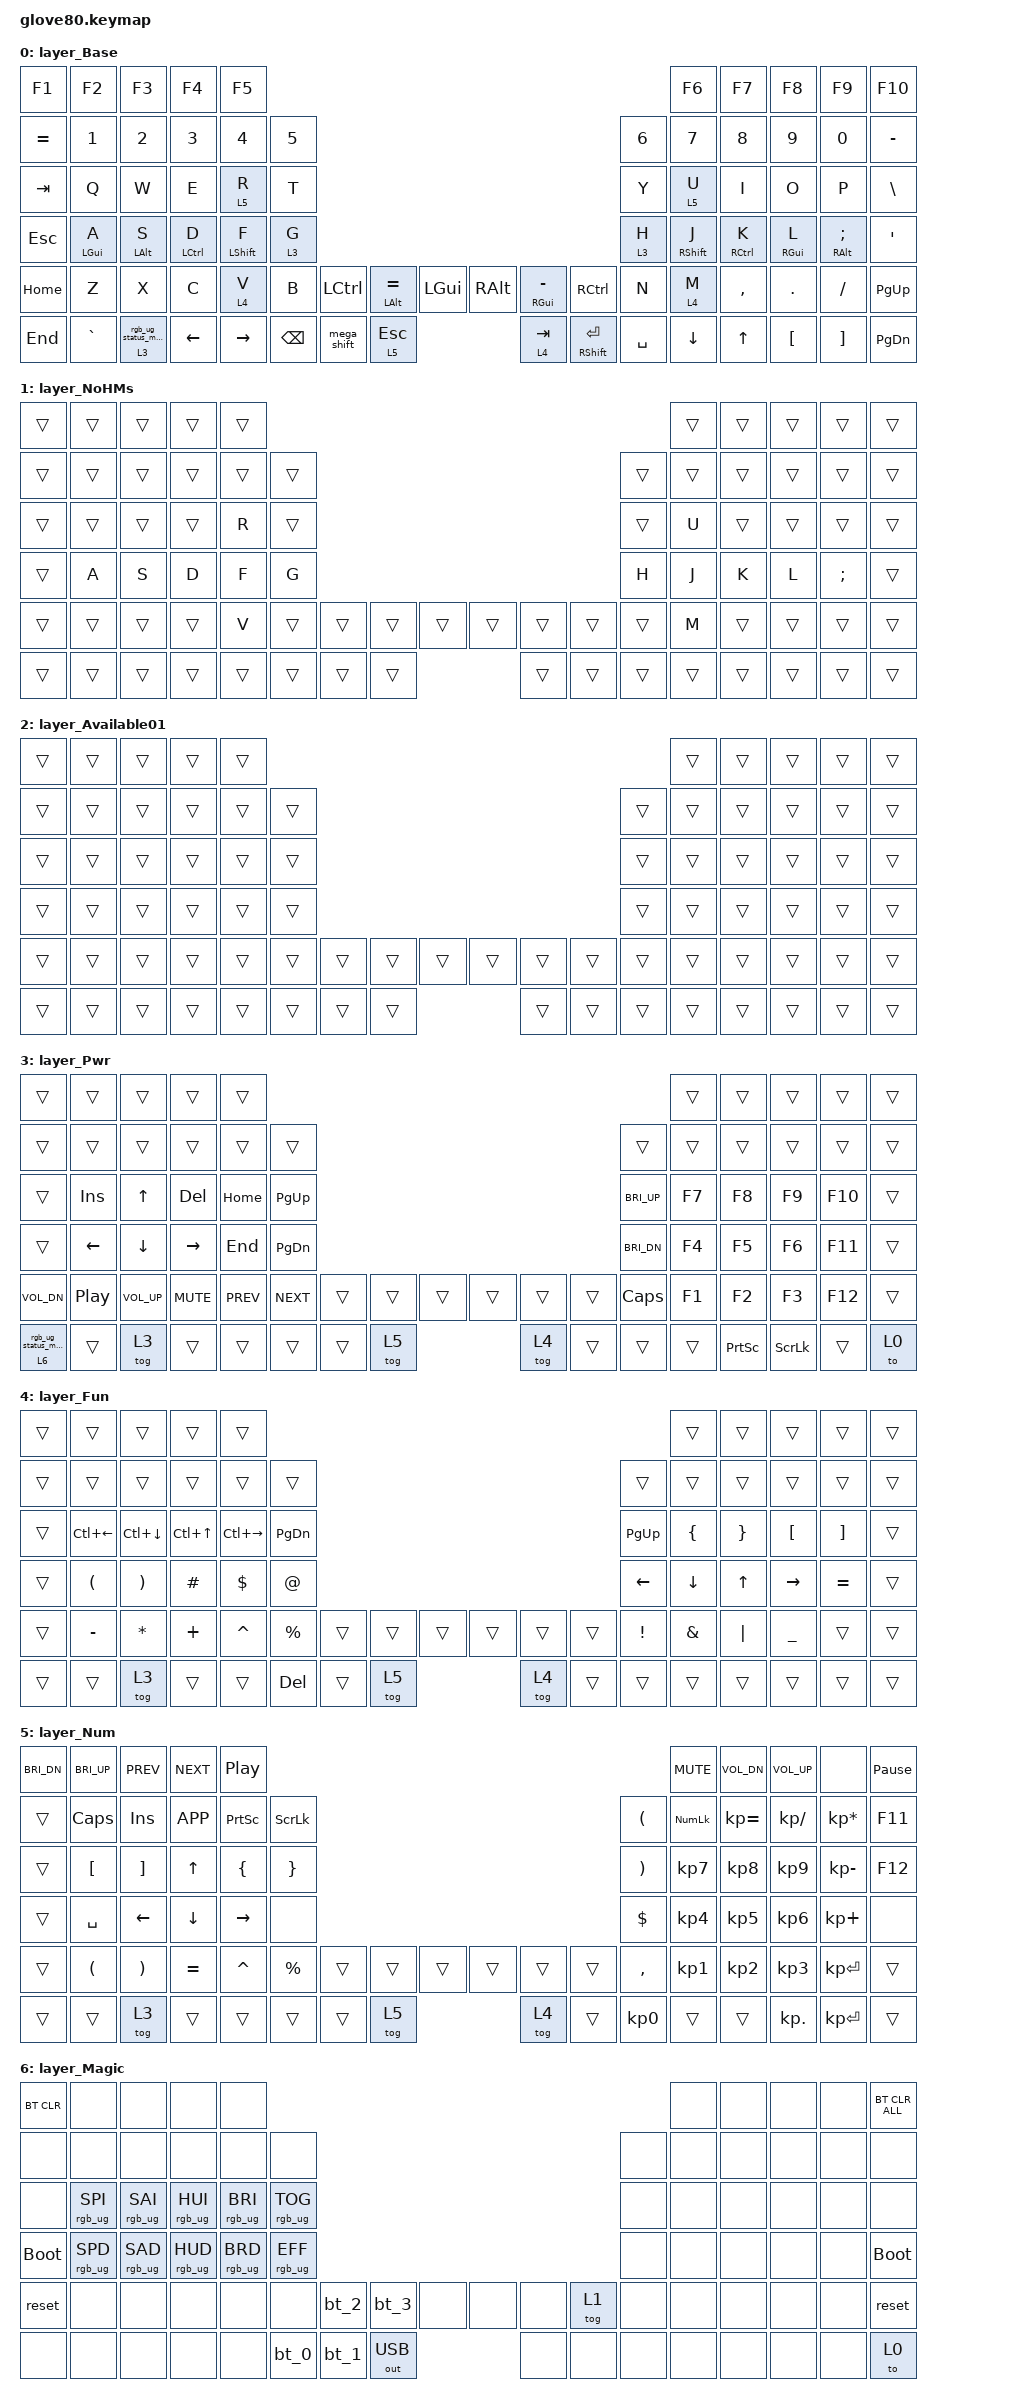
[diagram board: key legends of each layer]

/*
 * Copyright (c) 2020 The ZMK Contributors
 * Copyright (c) 2022 Innaworks Development Limited, trading as MoErgo
 *
 * SPDX-License-Identifier: MIT
 */


/* THIS FILE WAS GENERATED BY GLOVE80 LAYOUT EDITOR
 *
 * This file was generated automatically. You may or may not want to
 * edit it directly.
 */

#include <behaviors.dtsi>
/* Include all behaviour includes needed by system behaviors/macros */
#include <dt-bindings/zmk/outputs.h>

/* Include behaviour includes needed by key binds - automatically generated */
#include <dt-bindings/zmk/keys.h>
#include <dt-bindings/zmk/bt.h>
#include <dt-bindings/zmk/rgb.h>
#include <dt-bindings/zmk/outputs.h>


/ {
    /* Glove80 system behavior & macros */
    behaviors {
        // For the "layer" key, it'd nice to be able to use it as either a shift or a toggle.
        // Configure it as a tap dance, so the first tap (or hold) is a &mo and the second tap is a &to
        lower: tap_dance_0 {
            compatible = "zmk,behavior-tap-dance";
            label = "LAYER_TAP_DANCE";
            #binding-cells = <0>;
            tapping-term-ms = <200>;
            bindings = <&mo 1>, <&to 1>;
        };
    };

    macros {
        rgb_ug_status_macro: rgb_ug_status_macro_0 {
            label = "RGB_UG_STATUS";
            compatible = "zmk,behavior-macro";
            #binding-cells = <0>;
            bindings
                = <&rgb_ug RGB_STATUS>;
        };
    };

    macros {
        bt_0: bt_profile_macro_0 {
            label = "BT_0";
            compatible = "zmk,behavior-macro";
            #binding-cells = <0>;
            bindings
                = <&out OUT_BLE>,
                  <&bt BT_SEL 0>;
        };
    };

    macros {
        bt_1: bt_profile_macro_1 {
            label = "BT_1";
            compatible = "zmk,behavior-macro";
            #binding-cells = <0>;
            bindings
                = <&out OUT_BLE>,
                  <&bt BT_SEL 1>;
        };
    };

    macros {
        bt_2: bt_profile_macro_2 {
            label = "BT_2";
            compatible = "zmk,behavior-macro";
            #binding-cells = <0>;
            bindings
                = <&out OUT_BLE>,
                  <&bt BT_SEL 2>;
        };
    };

    macros {
        bt_3: bt_profile_macro_3 {
            label = "BT_3";
            compatible = "zmk,behavior-macro";
            #binding-cells = <0>;
            bindings
                = <&out OUT_BLE>,
                  <&bt BT_SEL 3>;
        };
    };

    magic: magic_hold_tap {
        compatible = "zmk,behavior-hold-tap";
        label = "MAGIC_HOLD_TAP";
        #binding-cells = <2>;
        flavor = "tap-preferred";
        tapping-term-ms = <200>;
        bindings = <&mo>, <&rgb_ug_status_macro>;
    };

    /* Custom Defined Behaviors */
behaviors {
  hm: homerow_mods {
    compatible = "zmk,behavior-hold-tap";
    label = "HOMEROW_MODS";
    #binding-cells = <2>;
    tapping-term-ms = <200>;
    quick-tap-ms = <200>;
    flavor = "tap-preferred";
    bindings = <&kp>, <&kp>;
  };
  hl: home_layer_tap_hold {
    compatible = "zmk,behavior-hold-tap";
    label = "HOME_LAYER_TAP_HOLD";
    #binding-cells = <2>;
    tapping-term-ms = <200>;
    quick-tap-ms = <200>;
    flavor = "tap-preferred";
    bindings = <&mo>, <&kp>;
  };
  bhm: balanced_homerow_mods {
    compatible = "zmk,behavior-hold-tap";
    label = "BALANCED_HOMEROW_MODS";
    #binding-cells = <2>;
    tapping-term-ms = <200>;    // <---[[moderate duration]]
    quick-tap-ms = <200>;
    flavor = "balanced";
    bindings = <&kp>, <&kp>;
  };
  bhl: balanced_home_layer_tap_hold {
    compatible = "zmk,behavior-hold-tap";
    label = "BALANCED_HOME_LAYER_TAP_HOLD";
    #binding-cells = <2>;
    tapping-term-ms = <200>;
    quick-tap-ms = <200>;
    flavor = "balanced";
    bindings = <&mo>, <&kp>;
  };
  tm: thumb_mods {
    compatible = "zmk,behavior-hold-tap";
    label = "THUMB_MODS";
    #binding-cells = <2>;
    tapping-term-ms = <200>;
    quick-tap-ms = <200>;
    flavor = "hold-preferred";
    bindings = <&kp>, <&kp>;
  };
  tl: thumb_layers {
    compatible = "zmk,behavior-hold-tap";
    label = "THUMB_LAYERS";
    #binding-cells = <2>;
    tapping-term-ms = <200>;
    quick-tap-ms = <200>;
    flavor = "hold-preferred";
    bindings = <&mo>, <&kp>;
  };
  parsl: paren_shift_left {
    compatible = "zmk,behavior-mod-morph";
    label = "PAREN_SHIFT_LEFT";
    #binding-cells = <0>;
    bindings = <&parcl>, <&kp LPAR>;
    mods = <(MOD_RSFT)>;
  };
  parcl: paren_ctrl_left {
    compatible = "zmk,behavior-mod-morph";
    label = "PAREN_CTRL_LEFT";
    #binding-cells = <0>;
    bindings = <&pargl>, <&kp LBRC>;
    mods = <(MOD_RCTL)>;
  };
  pargl: paren_gui_left {
    compatible = "zmk,behavior-mod-morph";
    label = "PAREN_GUI_LEFT";
    #binding-cells = <0>;
    bindings = <&kp LCTRL>, <&kp LBKT>;
    mods = <(MOD_RGUI)>;
  };
  parsr: paren_shift_right {
    compatible = "zmk,behavior-mod-morph";
    label = "PAREN_SHIFT_RIGHT";
    #binding-cells = <0>;
    bindings = <&parcr>, <&kp RPAR>;
    mods = <(MOD_LSFT)>;
  };
  parcr: paren_ctrl_right {
    compatible = "zmk,behavior-mod-morph";
    label = "PAREN_CTRL_RIGHT";
    #binding-cells = <0>;
    bindings = <&parar>, <&kp RBRC>;
    mods = <(MOD_LCTL)>;
  };
  parar: paren_alt_right {
    compatible = "zmk,behavior-mod-morph";
    label = "PAREN_ALT_RIGHT";
    #binding-cells = <0>;
    bindings = <&kp RCTRL>, <&kp RBKT>;
    mods = <(MOD_LALT)>;
  };
  mega_shift: mega_shift {
    compatible = "zmk,behavior-tap-dance";
    label = "mega_shift";
    #binding-cells = <0>;
    tapping-term-ms = <500>;
    bindings = <&kp LSHIFT>, <&kp LC(LALT)>, <&kp LG(LC(LALT))>, <&kp LS(LG(LC(LALT)))>;
  };
};


    /* Automatically generated keymap */
    keymap {
        compatible = "zmk,keymap";


        layer_Base {
            bindings = <
    &kp F1      &kp F2      &kp F3       &kp F4        &kp F5                                                                                                        &kp F6       &kp F7      &kp F8         &kp F9    &kp F10
 &kp EQUAL      &kp N1      &kp N2       &kp N3        &kp N4   &kp N5                                                                                 &kp N6        &kp N7       &kp N8      &kp N9         &kp N0  &kp MINUS
   &kp TAB       &kp Q       &kp W        &kp E       &hl 5 R    &kp T                                                                                  &kp Y       &hl 5 U        &kp I       &kp O          &kp P   &kp BSLH
   &kp ESC  &hm LGUI A  &hm LALT S  &hm LCTRL D  &hm LSHIFT F  &hl 3 G                                                                                &hl 3 H  &hm RSHIFT J  &hm RCTRL K  &hm RGUI L  &hm RALT SEMI    &kp SQT
  &kp HOME       &kp Z       &kp X        &kp C       &hl 4 V    &kp B  &kp LCTRL  &tm LALT EQUAL   &kp LGUI   &kp RALT    &tm RGUI MINUS  &kp RCTRL    &kp N       &hl 4 M    &kp COMMA     &kp DOT       &kp FSLH  &kp PG_UP
   &kp END   &kp GRAVE  &magic 3 0     &kp LEFT     &kp RIGHT            &kp BSPC     &mega_shift  &tl 5 ESC  &tl 4 TAB  &tm RSHIFT ENTER  &kp SPACE               &kp DOWN       &kp UP    &kp LBKT       &kp RBKT  &kp PG_DN
            >;
        };

        layer_NoHMs {
            bindings = <
 &trans  &trans  &trans  &trans  &trans                                                                  &trans  &trans  &trans    &trans  &trans
 &trans  &trans  &trans  &trans  &trans  &trans                                                  &trans  &trans  &trans  &trans    &trans  &trans
 &trans  &trans  &trans  &trans   &kp R  &trans                                                  &trans   &kp U  &trans  &trans    &trans  &trans
 &trans   &kp A   &kp S   &kp D   &kp F   &kp G                                                   &kp H   &kp J   &kp K   &kp L  &kp SEMI  &trans
 &trans  &trans  &trans  &trans   &kp V  &trans  &trans  &trans  &trans  &trans  &trans  &trans  &trans   &kp M  &trans  &trans    &trans  &trans
 &trans  &trans  &trans  &trans  &trans          &trans  &trans  &trans  &trans  &trans  &trans          &trans  &trans  &trans    &trans  &trans
            >;
        };

        layer_Available01 {
            bindings = <
 &trans  &trans  &trans  &trans  &trans                                                                  &trans  &trans  &trans  &trans  &trans
 &trans  &trans  &trans  &trans  &trans  &trans                                                  &trans  &trans  &trans  &trans  &trans  &trans
 &trans  &trans  &trans  &trans  &trans  &trans                                                  &trans  &trans  &trans  &trans  &trans  &trans
 &trans  &trans  &trans  &trans  &trans  &trans                                                  &trans  &trans  &trans  &trans  &trans  &trans
 &trans  &trans  &trans  &trans  &trans  &trans  &trans  &trans  &trans  &trans  &trans  &trans  &trans  &trans  &trans  &trans  &trans  &trans
 &trans  &trans  &trans  &trans  &trans          &trans  &trans  &trans  &trans  &trans  &trans          &trans  &trans  &trans  &trans  &trans
            >;
        };

        layer_Pwr {
            bindings = <
       &trans    &trans        &trans      &trans      &trans                                                                            &trans     &trans    &trans   &trans  &trans
       &trans    &trans        &trans      &trans      &trans      &trans                                                        &trans  &trans     &trans    &trans   &trans  &trans
       &trans   &kp INS        &kp UP     &kp DEL    &kp HOME   &kp PG_UP                                                  &kp C_BRI_UP  &kp F7     &kp F8    &kp F9  &kp F10  &trans
       &trans  &kp LEFT      &kp DOWN   &kp RIGHT     &kp END   &kp PG_DN                                                  &kp C_BRI_DN  &kp F4     &kp F5    &kp F6  &kp F11  &trans
 &kp C_VOL_DN  &kp C_PP  &kp C_VOL_UP  &kp C_MUTE  &kp C_PREV  &kp C_NEXT  &trans  &trans  &trans  &trans  &trans  &trans      &kp CAPS  &kp F1     &kp F2    &kp F3  &kp F12  &trans
   &magic 6 0    &trans        &tog 3      &trans      &trans              &trans  &trans  &tog 5  &tog 4  &trans  &trans                &trans  &kp PSCRN  &kp SLCK   &trans   &to 0
            >;
        };

        layer_Fun {
            bindings = <
 &trans        &trans        &trans      &trans         &trans                                                                           &trans    &trans     &trans     &trans  &trans
 &trans        &trans        &trans      &trans         &trans     &trans                                                      &trans    &trans    &trans     &trans     &trans  &trans
 &trans  &kp LC(LEFT)  &kp LC(DOWN)  &kp LC(UP)  &kp LC(RIGHT)  &kp PG_DN                                                   &kp PG_UP  &kp LBRC  &kp RBRC   &kp LBKT   &kp RBKT  &trans
 &trans      &kp LPAR      &kp RPAR    &kp HASH       &kp DLLR     &kp AT                                                    &kp LEFT  &kp DOWN    &kp UP  &kp RIGHT  &kp EQUAL  &trans
 &trans     &kp MINUS      &kp STAR    &kp PLUS      &kp CARET  &kp PRCNT   &trans  &trans  &trans  &trans  &trans  &trans   &kp EXCL  &kp AMPS  &kp PIPE  &kp UNDER     &trans  &trans
 &trans        &trans        &tog 3      &trans         &trans             &kp DEL  &trans  &tog 5  &tog 4  &trans  &trans               &trans    &trans     &trans     &trans  &trans
            >;
        };

        layer_Num {
            bindings = <
 &kp C_BRI_DN  &kp C_BRI_UP  &kp C_PREV  &kp C_NEXT   &kp C_PP                                                                           &kp C_MUTE  &kp C_VOL_DN  &kp C_VOL_UP            &none  &kp PAUSE_BREAK
       &trans      &kp CAPS     &kp INS   &kp K_APP  &kp PSCRN   &kp SLCK                                                      &kp LPAR  &kp KP_NUM  &kp KP_EQUAL  &kp KP_SLASH  &kp KP_MULTIPLY          &kp F11
       &trans      &kp LBKT    &kp RBKT      &kp UP   &kp LBRC   &kp RBRC                                                      &kp RPAR   &kp KP_N7     &kp KP_N8     &kp KP_N9     &kp KP_MINUS          &kp F12
       &trans     &kp SPACE    &kp LEFT    &kp DOWN  &kp RIGHT      &none                                                      &kp DLLR   &kp KP_N4     &kp KP_N5     &kp KP_N6      &kp KP_PLUS            &none
       &trans      &kp LPAR    &kp RPAR   &kp EQUAL  &kp CARET  &kp PRCNT  &trans  &trans  &trans  &trans  &trans     &trans  &kp COMMA   &kp KP_N1     &kp KP_N2     &kp KP_N3     &kp KP_ENTER           &trans
       &trans        &trans      &tog 3      &trans     &trans             &trans  &trans  &tog 5  &tog 4  &trans  &kp KP_N0                 &trans        &trans    &kp KP_DOT     &kp KP_ENTER           &trans
            >;
        };

        layer_Magic {
            bindings = <
  &bt BT_CLR            &none            &none            &none            &none                                                                                  &none   &none   &none   &none  &bt BT_CLR_ALL
       &none            &none            &none            &none            &none            &none                                                         &none   &none   &none   &none   &none           &none
       &none  &rgb_ug RGB_SPI  &rgb_ug RGB_SAI  &rgb_ug RGB_HUI  &rgb_ug RGB_BRI  &rgb_ug RGB_TOG                                                         &none   &none   &none   &none   &none           &none
 &bootloader  &rgb_ug RGB_SPD  &rgb_ug RGB_SAD  &rgb_ug RGB_HUD  &rgb_ug RGB_BRD  &rgb_ug RGB_EFF                                                         &none   &none   &none   &none   &none     &bootloader
      &reset            &none            &none            &none            &none            &none   &bt_2   &bt_3         &none   &none   &none  &tog 1   &none   &none   &none   &none   &none          &reset
       &none            &none            &none            &none            &none                    &bt_0   &bt_1  &out OUT_USB   &none   &none   &none           &none   &none   &none   &none           &to 0
            >;
        };

    };
};
